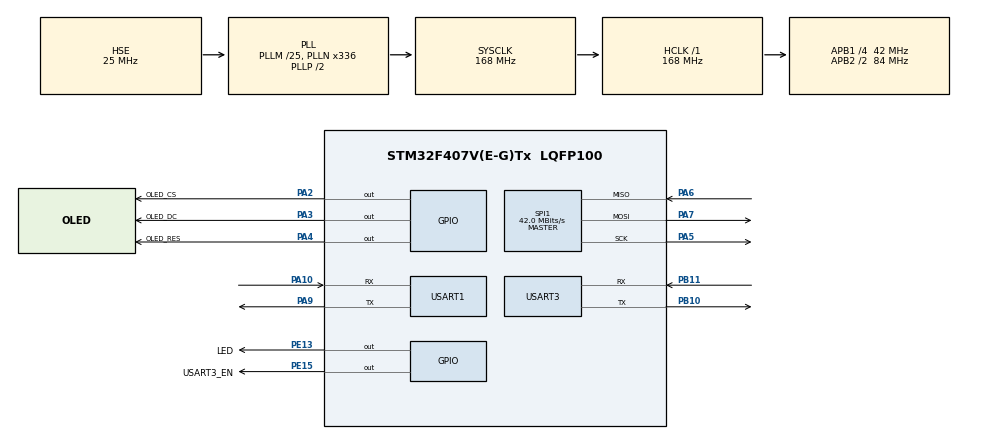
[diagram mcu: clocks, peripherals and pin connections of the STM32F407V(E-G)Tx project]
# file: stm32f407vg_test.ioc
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FREERTOS.Tasks01=defaultTask,0,128,StartDefaultTask,Default,NULL,Dynamic,NULL,NULL;mpu6050Task,-1,256,MPU6050_Task,Default,NULL,Dynamic,NULL,NULL;oledTask,-1,1024,OLED_Display_Task,Default,NULL,Dynamic,NULL,NULL;debugTask,-2,256,Debug_Task,Default,NULL,Dynamic,NULL,NULL
FREERTOS.configENABLE_FPU=1
FREERTOS.configTOTAL_HEAP_SIZE=102400
Mcu.Family=STM32F4
Mcu.Name=STM32F407V(E-G)Tx
Mcu.Package=LQFP100
NVIC.PriorityGroup=NVIC_PRIORITYGROUP_4
NVIC.TIM6_DAC_IRQn=true\:15\:0\:false\:false\:true\:false\:false\:true\:true
NVIC.TimeBase=TIM6_DAC_IRQn
NVIC.TimeBaseIP=TIM6
NVIC.USART1_IRQn=true\:5\:0\:true\:false\:true\:true\:true\:true\:true
NVIC.USART3_IRQn=true\:6\:0\:true\:false\:true\:true\:true\:true\:true
PA10.Mode=Asynchronous
PA10.Signal=USART1_RX
PA13.Mode=Serial_Wire
PA13.Signal=SYS_JTMS-SWDIO
PA14.Mode=Serial_Wire
PA14.Signal=SYS_JTCK-SWCLK
PA2.GPIO_Label=OLED_CS
PA2.GPIO_PuPd=GPIO_PULLDOWN
PA2.GPIO_Speed=GPIO_SPEED_FREQ_VERY_HIGH
PA2.Signal=GPIO_Output
PA3.GPIO_Label=OLED_DC
PA3.GPIO_Speed=GPIO_SPEED_FREQ_VERY_HIGH
PA3.Signal=GPIO_Output
PA4.GPIO_Label=OLED_RES
PA4.GPIO_PuPd=GPIO_PULLUP
PA4.GPIO_Speed=GPIO_SPEED_FREQ_HIGH
PA4.PinState=GPIO_PIN_SET
PA4.Signal=GPIO_Output
PA5.Mode=Full_Duplex_Master
PA5.Signal=SPI1_SCK
PA6.Mode=Full_Duplex_Master
PA6.Signal=SPI1_MISO
PA7.Mode=Full_Duplex_Master
PA7.Signal=SPI1_MOSI
PA9.Mode=Asynchronous
PA9.Signal=USART1_TX
PB10.Mode=Asynchronous
PB10.Signal=USART3_TX
PB11.Mode=Asynchronous
PB11.Signal=USART3_RX
PE13.GPIO_Label=LED
PE13.Signal=GPIO_Output
PE15.GPIO_Label=USART3_EN
PE15.GPIO_Speed=GPIO_SPEED_FREQ_HIGH
PE15.Signal=GPIO_Output
PH0-OSC_IN.Mode=HSE-External-Oscillator
PH0-OSC_IN.Signal=RCC_OSC_IN
PH1-OSC_OUT.Mode=HSE-External-Oscillator
PH1-OSC_OUT.Signal=RCC_OSC_OUT
ProjectManager.HeapSize=0x200
ProjectManager.StackSize=0x400
ProjectManager.TargetToolchain=Makefile
RCC.48MHZClocksFreq_Value=84000000
RCC.AHBFreq_Value=168000000
RCC.APB1CLKDivider=RCC_HCLK_DIV4
RCC.APB1Freq_Value=42000000
RCC.APB1TimFreq_Value=84000000
RCC.APB2CLKDivider=RCC_HCLK_DIV2
RCC.APB2Freq_Value=84000000
RCC.APB2TimFreq_Value=168000000
RCC.CortexFreq_Value=168000000
RCC.HCLKFreq_Value=168000000
RCC.HSE_VALUE=25000000
RCC.HSI_VALUE=16000000
RCC.LSE_VALUE=32768
RCC.PLLM=25
RCC.PLLN=336
RCC.PLLSourceVirtual=RCC_PLLSOURCE_HSE
RCC.SYSCLKFreq_VALUE=168000000
RCC.SYSCLKSource=RCC_SYSCLKSOURCE_PLLCLK
RCC.VCOOutputFreq_Value=336000000
SPI1.BaudRatePrescaler=SPI_BAUDRATEPRESCALER_2
SPI1.CalculateBaudRate=42.0 MBits/s
SPI1.Direction=SPI_DIRECTION_2LINES
SPI1.Mode=SPI_MODE_MASTER
SPI1.VirtualType=VM_MASTER
USART1.VirtualMode=VM_ASYNC
USART3.VirtualMode=VM_ASYNC
VP_FREERTOS_VS_CMSIS_V1.Mode=CMSIS_V1
VP_SYS_VS_tim6.Mode=TIM6
board=custom

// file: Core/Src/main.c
/* USER CODE BEGIN Header */
/**
  ******************************************************************************
  * @file           : main.c
  * @brief          : Main program body
  ******************************************************************************
  * @attention
  *
  * Copyright (c) 2025 STMicroelectronics.
  * All rights reserved.
  *
  * This software is licensed under terms that can be found in the LICENSE file
  * in the root directory of this software component.
  * If no LICENSE file comes with this software, it is provided AS-IS.
  *
  ******************************************************************************
  */
/* USER CODE END Header */
#include "main.h"
#include "cmsis_os.h"
#include "spi.h"
#include "usart.h"
#include "gpio.h"

/* USER CODE BEGIN Includes */
#include "bsp_eeprom.h"
#include "atk_ms6050.h"
#include "inv_mpu.h"
#include "oled.h"
/* USER CODE END Includes */

void SystemClock_Config(void);
void MX_FREERTOS_Init(void);

/* USER CODE BEGIN 0 */
/**
 * @brief       设置中断向量表偏移地址
 * @param       baseaddr: 基址
 * @param       offset: 偏移量
 * @retval      无
 */
void sys_nvic_set_vector_table(uint32_t baseaddr, uint32_t offset)
{
    /* 设置NVIC的向量表偏移寄存器,VTOR低9位保留,即[8:0]保留 */
    SCB->VTOR = baseaddr | (offset & (uint32_t)0xFFFFFE00);
}
/* USER CODE END 0 */

int main(void)
{

  /* USER CODE BEGIN 1 */
  //sys_nvic_set_vector_table(FLASH_BASE, 0x20000);
  /* USER CODE END 1 */

  /* MCU Configuration--------------------------------------------------------*/

  /* Reset of all peripherals, Initializes the Flash interface and the Systick. */
  HAL_Init();

  /* Configure the system clock */
  SystemClock_Config();

  /* Initialize all configured peripherals */
  MX_GPIO_Init();
  MX_SPI1_Init();
  MX_USART1_UART_Init();
  MX_USART3_UART_Init();
  /* USER CODE BEGIN 2 */
  OLED_Init();
  MX_EEPROM_Init();
  /* USER CODE END 2 */

  /* Call init function for freertos objects (in cmsis_os2.c) */
  MX_FREERTOS_Init();

  /* Start scheduler */
  osKernelStart();

  /* We should never get here as control is now taken by the scheduler */

  /* Infinite loop */
  while (1)
  {

  }
}

void SystemClock_Config(void)
{
  RCC_OscInitTypeDef RCC_OscInitStruct = {0};
  RCC_ClkInitTypeDef RCC_ClkInitStruct = {0};

  /** Configure the main internal regulator output voltage
  */
  __HAL_RCC_PWR_CLK_ENABLE();
  __HAL_PWR_VOLTAGESCALING_CONFIG(PWR_REGULATOR_VOLTAGE_SCALE1);

  /** Initializes the RCC Oscillators according to the specified parameters
  * in the RCC_OscInitTypeDef structure.
  */
  RCC_OscInitStruct.OscillatorType = RCC_OSCILLATORTYPE_HSE;
  RCC_OscInitStruct.HSEState = RCC_HSE_ON;
  RCC_OscInitStruct.PLL.PLLState = RCC_PLL_ON;
  RCC_OscInitStruct.PLL.PLLSource = RCC_PLLSOURCE_HSE;
  RCC_OscInitStruct.PLL.PLLM = 25;
  RCC_OscInitStruct.PLL.PLLN = 336;
  RCC_OscInitStruct.PLL.PLLP = RCC_PLLP_DIV2;
  RCC_OscInitStruct.PLL.PLLQ = 4;
  if (HAL_RCC_OscConfig(&RCC_OscInitStruct) != HAL_OK)
  {
    Error_Handler();
  }

  /** Initializes the CPU, AHB and APB buses clocks
  */
  RCC_ClkInitStruct.ClockType = RCC_CLOCKTYPE_HCLK|RCC_CLOCKTYPE_SYSCLK
                              |RCC_CLOCKTYPE_PCLK1|RCC_CLOCKTYPE_PCLK2;
  RCC_ClkInitStruct.SYSCLKSource = RCC_SYSCLKSOURCE_PLLCLK;
  RCC_ClkInitStruct.AHBCLKDivider = RCC_SYSCLK_DIV1;
  RCC_ClkInitStruct.APB1CLKDivider = RCC_HCLK_DIV4;
  RCC_ClkInitStruct.APB2CLKDivider = RCC_HCLK_DIV2;

  if (HAL_RCC_ClockConfig(&RCC_ClkInitStruct, FLASH_LATENCY_5) != HAL_OK)
  {
    Error_Handler();
  }
}

void HAL_TIM_PeriodElapsedCallback(TIM_HandleTypeDef *htim)
{
  if (htim->Instance == TIM6) {
    HAL_IncTick();
  }
}

void Error_Handler(void)
{
  __disable_irq();
  while (1)
  {
  }
}

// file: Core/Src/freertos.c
/* USER CODE BEGIN Header */
/**
  ******************************************************************************
  * File Name          : freertos.c
  * Description        : Code for freertos applications
  ******************************************************************************
  * @attention
  *
  * Copyright (c) 2025 STMicroelectronics.
  * All rights reserved.
  *
  * This software is licensed under terms that can be found in the LICENSE file
  * in the root directory of this software component.
  * If no LICENSE file comes with this software, it is provided AS-IS.
  *
  ******************************************************************************
  */
/* USER CODE END Header */

#include "FreeRTOS.h"
#include "task.h"
#include "main.h"
#include "cmsis_os.h"

/* USER CODE BEGIN Includes */
#include "bsp_eeprom.h"
#include "atk_ms6050.h"
#include "inv_mpu.h"
#include "oled.h"
#include "bmp.h"
#include "usart.h"
/* USER CODE END Includes */

/* USER CODE BEGIN PM */
float pit, rol, yaw;
volatile float speed_x = 0, speed_y = 0;
volatile float cnt_x = 60.0, cnt_y = 28.0;
volatile uint8_t add_x = 60, add_y = 28;
uint8_t init_flag = 0;
/* USER CODE END PM */

osThreadId defaultTaskHandle;
osThreadId mpu6050TaskHandle;
osThreadId oledTaskHandle;
osThreadId debugTaskHandle;

void StartDefaultTask(void const * argument);
void MPU6050_Task(void const * argument);
void OLED_Display_Task(void const * argument);
void Debug_Task(void const * argument);

void MX_FREERTOS_Init(void); /* (MISRA C 2004 rule 8.1) */

/* GetIdleTaskMemory prototype (linked to static allocation support) */
void vApplicationGetIdleTaskMemory( StaticTask_t **ppxIdleTaskTCBBuffer, StackType_t **ppxIdleTaskStackBuffer, uint32_t *pulIdleTaskStackSize );

/* USER CODE BEGIN GET_IDLE_TASK_MEMORY */
static StaticTask_t xIdleTaskTCBBuffer;
static StackType_t xIdleStack[configMINIMAL_STACK_SIZE];

void vApplicationGetIdleTaskMemory( StaticTask_t **ppxIdleTaskTCBBuffer, StackType_t **ppxIdleTaskStackBuffer, uint32_t *pulIdleTaskStackSize )
{
  *ppxIdleTaskTCBBuffer = &xIdleTaskTCBBuffer;
  *ppxIdleTaskStackBuffer = &xIdleStack[0];
  *pulIdleTaskStackSize = configMINIMAL_STACK_SIZE;
  /* place for user code */
}
/* USER CODE END GET_IDLE_TASK_MEMORY */

void MX_FREERTOS_Init(void) {

  /* Create the thread(s) */
  /* definition and creation of defaultTask */
  osThreadDef(defaultTask, StartDefaultTask, osPriorityNormal, 0, 128);
  defaultTaskHandle = osThreadCreate(osThread(defaultTask), NULL);

  /* definition and creation of mpu6050Task */
  osThreadDef(mpu6050Task, MPU6050_Task, osPriorityBelowNormal, 0, 256);
  mpu6050TaskHandle = osThreadCreate(osThread(mpu6050Task), NULL);

  /* definition and creation of oledTask */
  osThreadDef(oledTask, OLED_Display_Task, osPriorityBelowNormal, 0, 1024);
  oledTaskHandle = osThreadCreate(osThread(oledTask), NULL);

  /* definition and creation of debugTask */
  osThreadDef(debugTask, Debug_Task, osPriorityLow, 0, 256);
  debugTaskHandle = osThreadCreate(osThread(debugTask), NULL);

}

void StartDefaultTask(void const * argument)
{
  /* USER CODE BEGIN StartDefaultTask */
  /* Infinite loop */
  for(;;)
  {
    HAL_GPIO_TogglePin(LED_GPIO_Port, LED_Pin);
    osDelay(1000);
  }
  /* USER CODE END StartDefaultTask */
}

void MPU6050_Task(void const * argument)
{
  /* USER CODE BEGIN MPU6050_Task */
  init_flag = atk_ms6050_init();
  if(init_flag != 0)
    printf("ATK-MS6050 init error!\r\n");
  else
    printf("ATK-MS6050 init success!\r\n");
  osDelay(100);
  init_flag = atk_ms6050_dmp_init();
  if(init_flag!= 0)
    printf("ATK-MS6050 DMP init error!\r\n");
  else
    printf("ATK-MS6050 DMP init success!\r\n");
  /* Infinite loop */
  for(;;)
  {
    atk_ms6050_dmp_get_data(&pit, &rol, &yaw);
    speed_x = rol * 0.05; speed_y = -pit * 0.05;
    cnt_x += speed_x; cnt_y += speed_y;
    if(cnt_x < 0) cnt_x = 0;
    if(cnt_y < 0) cnt_y = 0;
    if(cnt_x > 119) cnt_x = 119;
    if(cnt_y > 55) cnt_y = 55;
    add_x = (uint8_t)cnt_x; add_y = (uint8_t)cnt_y;
    osDelay(50);
  }
  /* USER CODE END MPU6050_Task */
}

void OLED_Display_Task(void const * argument)
{
  /* USER CODE BEGIN OLED_Display_Task */
  OLED_DrawBMP(0,0,128,64,BMP1);
  /* Infinite loop */
  for(;;)
  {
    //OLED_DrawBoow(add_x,add_y);
    osDelay(50);
  }
  /* USER CODE END OLED_Display_Task */
}

void Debug_Task(void const * argument)
{
  /* USER CODE BEGIN Debug_Task */
  /* Infinite loop */
  for(;;)
  {
    USART1_Process();
    //printf("pit:%.2f rol:%.2f yaw:%.2f\r\n",pit,rol,yaw);
    osDelay(500);
  }
  /* USER CODE END Debug_Task */
}
